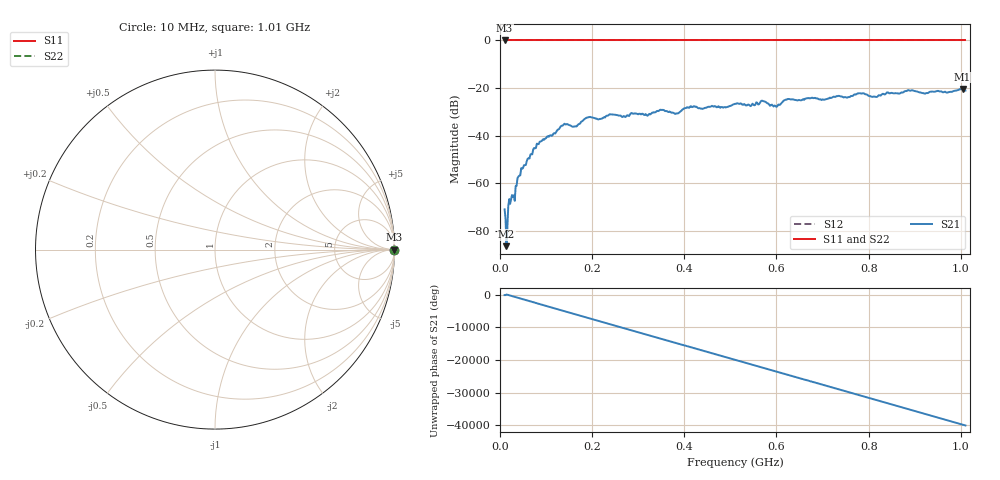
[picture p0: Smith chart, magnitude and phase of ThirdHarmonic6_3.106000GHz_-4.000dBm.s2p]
! 8/17/2025 9:10:33 AM
! C:\ANRITSUVNA\TEMP\TEMP.S2P
! CHANNEL.1
! TR.MEASUREMENT
! RAW.DATA
! RF.CORRECTION.OFF
! AVERAGING.OFF
! IF.BANDWIDTH: 5KHZ
! SWEEPTYPE:  FREQ.SWEEP(Linear)
! Reference Plane Port Info
! PORT:  PORT1  PORT2
! DISTANCE:  0  m  0  m
! TIME:  0  s  0  s
! PHASE.OFFSET:  0  deg.  0  deg.
! LOSS:  0  dB  0  dB
! REF.LOSS:  0  dB  0  dB
! REF.FREQ:  0  Hz  0  Hz
! Power Info
! POWER:  -20  dBm  -20  dBm
! EFF.POWER:  -20  dBm  -20  dBm
! SOURCE.ATTEN:  0  dB  0  dB
! TEST.ATTEN:  0  dB  0  dB
# GHZ S RI R 50.0
! FREQ.GHZ  S11RE  S11IM  S21RE  S21IM  S12RE  S12IM  S22RE  S22IM
!; PortSelection: Port_12
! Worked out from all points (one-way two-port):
!   501 points, 10 MHz to 1.01 GHz, reference 50 ohm
!   highest |S21| = -20.33 dB at 1.004 GHz (marker M1); lowest = -86.3 dB at 14 MHz (marker M2)
!   lowest |S11| = 0.0 dB at 10 MHz (marker M3)
!   |S11| at or under -10 dB: nowhere
!   |S22| runs from 0.0 to 0.0 dB; largest |S21 - S12| = 1.1
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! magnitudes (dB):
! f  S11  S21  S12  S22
! 10 MHz  0.0  -70.9  0.0  0.0
! 14 MHz  0.0  -86.3  0.0  0.0
! 18 MHz  0.0  -69.4  0.0  0.0
! 22 MHz  0.0  -68.5  0.0  0.0
! 32 MHz  0.0  -67.3  0.0  0.0
! 42 MHz  0.0  -56.7  0.0  0.0
! 76 MHz  0.0  -45.2  0.0  0.0
! 136 MHz  0.0  -35.7  0.0  0.0
! 162 MHz  0.0  -36.2  0.0  0.0
! 178 MHz  0.0  -33.9  0.0  0.0
! 192 MHz  0.0  -32.2  0.0  0.0
! 344 MHz  0.0  -29.6  0.0  0.0
! 382 MHz  0.0  -30.7  0.0  0.0
! 418 MHz  0.0  -28.0  0.0  0.0
! 510 MHz  0.0  -26.6  0.0  0.0
! 570 MHz  0.0  -25.3  0.0  0.0
! 598 MHz  0.0  -27.6  0.0  0.0
! 624 MHz  0.0  -24.6  0.0  0.0
! 678 MHz  0.0  -24.0  0.0  0.0
! 844 MHz  0.0  -22.1  0.0  0.0
! 1.004 GHz  0.0  -20.3  0.0  0.0
! 1.01 GHz  0.0  -21.0  0.0  0.0
